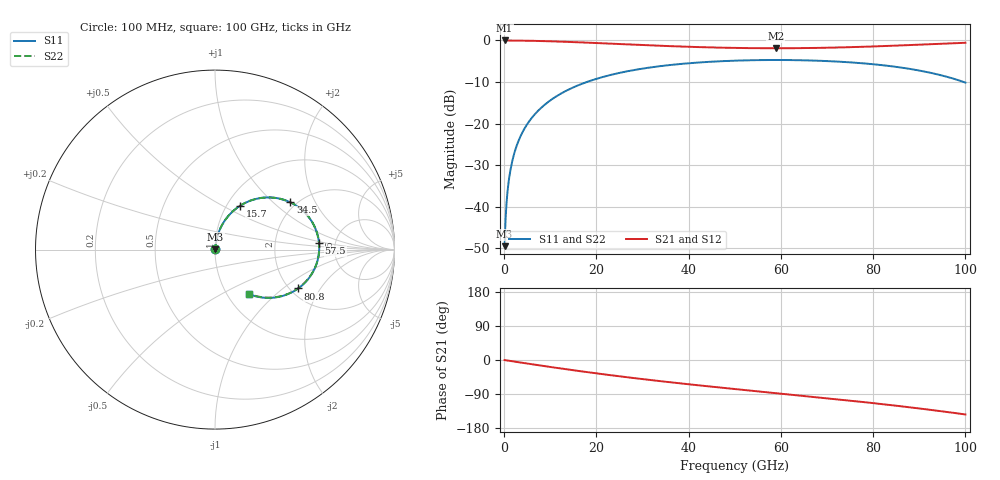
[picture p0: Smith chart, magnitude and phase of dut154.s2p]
! Touchstone file exported from HFSS 2026.1.0
!  File:  C:/ffzhzh/LocalFiles/Ansys_Project_Files/temp_train_RDL_154_1783499979_31944.aedt
!  Generated:  04:40:56 PM Jul  8, 2026
!  Design:  RDL
!  Project:  temp_train_RDL_154_1783499979_31944
! Variables:
!  h_bsmrdl = 2um
!  h_ox = 20um
!  h_rdl = 5um
!  h_sub = 80um
!  h_tmrdl = 3.43um
!  h_tsv = 80um
!  h_via = 3um
!  l_bsmrdl = 300um
!  l_sub = 886.1um
!  l_tmrdl = 486.1um
!  m_sub = 200um
!  pitch = 49.9um
!  r_tsv = 6um
!  s_tmrdl = 10um
!  w_bsmrdl = 18um
!  w_sub = 500um
!  w_tmrdl = 21.04um
!  x_tsv_center1 = 496.62um
!  x_tsv_center2 = 814.62um
!  x_tsv_center3 = 1321.76um
!  x_tsv_center4 = 1639.76um
!  x_tsv_center5 = 2146.9um
!  x_tsv_center6 = 2464.9um
# GHz S MA R 50.000000
! Terminal data exported
! Port[1] = TM_RDL1_1_T1
! Port[2] = TM_RDL1_1_T2
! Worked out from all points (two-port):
!   1000 points, 100 MHz to 100 GHz, reference 50 ohm
!   highest |S21| = -0.02 dB at 100 MHz (marker M1); lowest = -1.9 dB at 58.9 GHz (marker M2)
!   |S21| within 3 dB of the highest: start of sweep to end of sweep
!   lowest |S11| = -49.5 dB at 100 MHz (marker M3), VSWR 1.01, Z = 50.3 + j0.218 ohm
!   |S11| at or under -10 dB: start of sweep to 17.94 GHz; 99.62799 GHz to end of sweep
!   |S22| runs from -49.5 to -4.7 dB; largest |S21 - S12| = 1.7e-14
!   S11 on the Smith chart (normalised r, x): 100 MHz: 1.01, +0.00; 15.7 GHz: 1.15, +0.62; 34.5 GHz: 1.86, +1.30; 57.5 GHz: 3.72, +0.41; 80.8 GHz: 2.21, -1.29; 100 GHz: 1.25, -0.69
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0.1  0.003367 40.1  0.9974 -0.2  0.9974 -0.2  0.003367 40.1
! Gamma 0 0 0 0
! Port Impedance 50 0 50 0
0.8  0.0166 77.5  0.9967 -1.5  0.9967 -1.5  0.0166 77.5
1.1  0.02245 79.6  0.9965 -2.1  0.9965 -2.1  0.02245 79.6
1.4  0.02834 80.6  0.9963 -2.6  0.9963 -2.6  0.02834 80.6
2.4  0.04801 81.1  0.9952 -4.5  0.9952 -4.5  0.04801 81.1
3.8  0.07536 79.7  0.993 -7.1  0.993 -7.1  0.07536 79.7
5.8  0.1136 76.6  0.9884 -10.8  0.9884 -10.8  0.1136 76.6
8.4  0.1615 72.2  0.9806 -15.5  0.9806 -15.5  0.1615 72.2
11.7  0.219 66.7  0.9681 -21.4  0.9681 -21.4  0.219 66.7
15.7  0.2831 60.0  0.9504 -28.2  0.9504 -28.2  0.2831 60.1
16.8  0.2997 58.3  0.9451 -30.0  0.9451 -30.0  0.2997 58.3
24.2  0.3974 46.8  0.9078 -41.8  0.9078 -41.8  0.3974 46.8
33.4  0.4867 33.6  0.8633 -55.2  0.8633 -55.2  0.4867 33.7
34.5  0.4951 32.2  0.8585 -56.7  0.8585 -56.7  0.4951 32.2
50.1  0.5704 12.4  0.8113 -76.7  0.8113 -76.7  0.5704 12.5
57.5  0.5807 3.6  0.8041 -85.7  0.8041 -85.7  0.5807 3.7
58.9  0.581 2.0  0.8039 -87.4  0.8039 -87.4  0.581 2.1
66.7  0.5726 -7.3  0.8097 -96.8  0.8097 -96.8  0.5726 -7.2
80.8  0.5116 -25.0  0.8479 -114.8  0.8479 -114.8  0.5116 -24.8
83.4  0.493 -28.5  0.8583 -118.4  0.8583 -118.4  0.493 -28.3
92  0.4127 -40.7  0.8976 -130.9  0.8976 -130.9  0.4127 -40.4
100  0.3109 -52.8  0.9352 -143.7  0.9352 -143.7  0.311 -52.4
